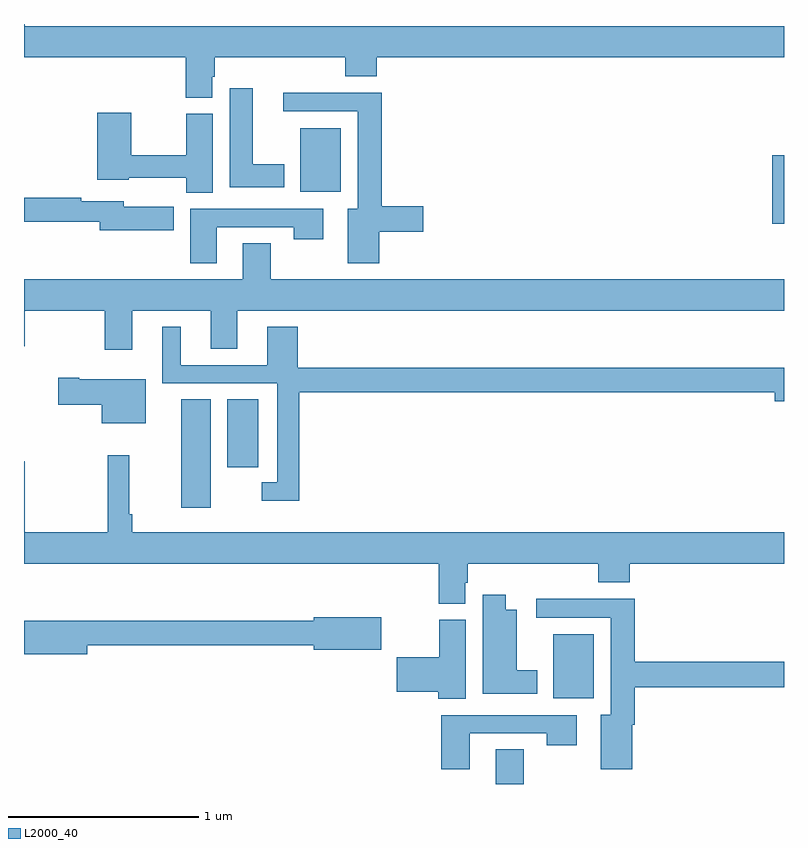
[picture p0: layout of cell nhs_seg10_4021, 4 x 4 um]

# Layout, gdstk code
import gdstk
lib = gdstk.Library(unit=1e-6, precision=1e-09)
def R(c, l, rs):  # rectangles x0, y0, x1, y1
    for r in rs: c.add(gdstk.rectangle(r[:2], r[2:], *l))
def P(c, l, *ps):  # polygons
    for p in ps: c.add(gdstk.Polygon(p, *l))
L2000_40 = (2000, 40)

nhs_seg10_4021 = lib.new_cell('nhs_seg10_4021')
R(nhs_seg10_4021, L2000_40, [(335.483,1288.5,335.631,1288.682), (335.786,1288.952,335.998,1289.287), (333.827,1289.955,333.982,1290.524), (334.07,1290.168,334.234,1290.524), (336.938,1291.45,337,1291.81), (334.454,1291.616,334.666,1291.951)])
P(nhs_seg10_4021, L2000_40, [(333.991,1292.223),(334.004,1292.223),(334.004,1292.324),(334.691,1292.324),(334.691,1292.225),(334.856,1292.225),(334.856,1292.324),(337,1292.324),(337,1292.488),(333.004,1292.488),(333.004,1292.5),(333,1292.5),(333,1292.324),(333.851,1292.324),(333.851,1292.113),(333.991,1292.113)],
  [(334.369,1291.762),(334.204,1291.762),(334.204,1292.161),(334.082,1292.161),(334.082,1291.64),(334.369,1291.64)],
  [(334.87,1291.406),(335.101,1291.406),(335.101,1291.541),(334.883,1291.541),(334.883,1292.138),(334.365,1292.138),(334.365,1292.04),(334.757,1292.04),(334.757,1291.528),(334.703,1291.528),(334.703,1291.242),(334.87,1291.242)],
  [(333.994,1292.028),(333.853,1292.028),(333.853,1291.808),(333.564,1291.808),(333.564,1292.032),(333.386,1292.032),(333.386,1291.679),(333.552,1291.679),(333.552,1291.691),(333.853,1291.691),(333.853,1291.612),(333.994,1291.612)],
  [(333.787,1291.537),(333.526,1291.537),(333.526,1291.566),(333.302,1291.566),(333.302,1291.586),(333,1291.586),(333,1291.458),(333.398,1291.458),(333.398,1291.415),(333.787,1291.415)],
  [(334.015,1291.431),(334.42,1291.431),(334.42,1291.368),(334.576,1291.368),(334.576,1291.527),(333.875,1291.527),(333.875,1291.242),(334.015,1291.242)],
  [(333.571,1290.992),(333.983,1290.992),(333.983,1290.79),(334.123,1290.79),(334.123,1290.992),(337,1290.992),(337,1291.156),(334.299,1291.156),(334.299,1291.346),(334.151,1291.346),(334.151,1291.156),(333,1291.156),(333,1290.804),(333.004,1290.804),(333.004,1290.992),(333.424,1290.992),(333.424,1290.786),(333.571,1290.786)],
  [(334.448,1290.562),(336.95,1290.562),(336.95,1290.515),(337,1290.515),(337,1290.691),(334.442,1290.691),(334.442,1290.907),(334.28,1290.907),(334.28,1290.705),(333.826,1290.705),(333.826,1290.907),(333.728,1290.907),(333.728,1290.609),(334.332,1290.609),(334.332,1290.087),(334.251,1290.087),(334.251,1289.99),(334.448,1289.99)],
  [(333.64,1290.631),(333.292,1290.631),(333.292,1290.639),(333.18,1290.639),(333.18,1290.497),(333.41,1290.497),(333.41,1290.398),(333.64,1290.398)],
  [(333,1290.199),(333,1289.66),(335.183,1289.66),(335.183,1289.449),(335.323,1289.449),(335.323,1289.559),(335.336,1289.559),(335.336,1289.66),(336.023,1289.66),(336.023,1289.561),(336.188,1289.561),(336.188,1289.66),(337,1289.66),(337,1289.824),(333.569,1289.824),(333.569,1289.92),(333.554,1289.92),(333.554,1290.229),(333.441,1290.229),(333.441,1289.824),(333.004,1289.824),(333.004,1290.199)],
  [(335.701,1289.098),(335.593,1289.098),(335.593,1289.416),(335.536,1289.416),(335.536,1289.497),(335.414,1289.497),(335.414,1288.976),(335.701,1288.976)],
  [(336.202,1288.811),(336.215,1288.811),(336.215,1289.008),(337,1289.008),(337,1289.144),(336.215,1289.144),(336.215,1289.474),(335.697,1289.474),(335.697,1289.376),(336.089,1289.376),(336.089,1288.864),(336.035,1288.864),(336.035,1288.578),(336.202,1288.578)],
  [(333.334,1289.23),(334.526,1289.23),(334.526,1289.207),(334.879,1289.207),(334.879,1289.377),(334.526,1289.377),(334.526,1289.359),(333,1289.359),(333,1289.183),(333.334,1289.183)],
  [(335.326,1289.364),(335.185,1289.364),(335.185,1289.168),(334.962,1289.168),(334.962,1288.985),(335.18,1288.985),(335.18,1288.948),(335.326,1288.948)],
  [(335.347,1288.767),(335.752,1288.767),(335.752,1288.704),(335.908,1288.704),(335.908,1288.863),(335.195,1288.863),(335.195,1288.578),(335.347,1288.578)])

lib.write_gds('nhs_seg10_4021.gds')
